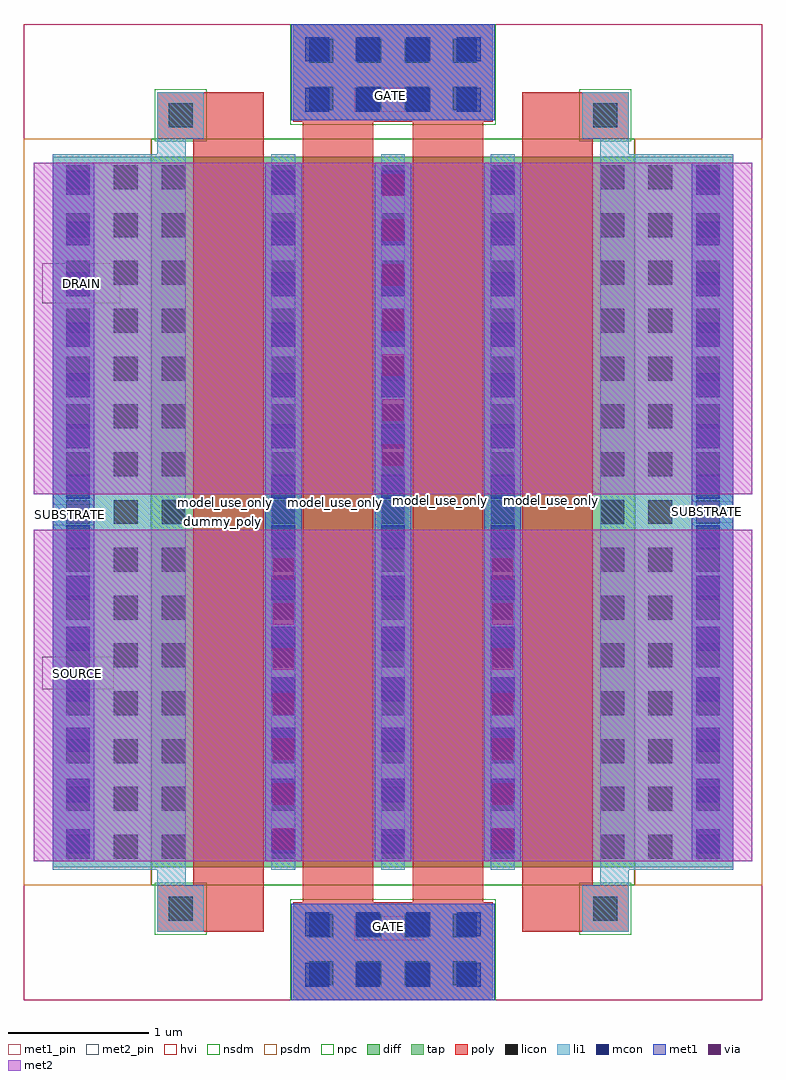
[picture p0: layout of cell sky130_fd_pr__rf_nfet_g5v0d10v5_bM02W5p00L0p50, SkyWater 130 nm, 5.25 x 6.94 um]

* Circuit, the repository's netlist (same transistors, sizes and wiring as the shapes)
* Copyright 2020 The SkyWater PDK Authors
*
* Licensed under the Apache License, Version 2.0 (the "License");
* you may not use this file except in compliance with the License.
* You may obtain a copy of the License at
*
*     https://www.apache.org/licenses/LICENSE-2.0
*
* Unless required by applicable law or agreed to in writing, software
* distributed under the License is distributed on an "AS IS" BASIS,
* WITHOUT WARRANTIES OR CONDITIONS OF ANY KIND, either express or implied.
* See the License for the specific language governing permissions and
* limitations under the License.
*
* SPDX-License-Identifier: Apache-2.0


.subckt sky130_fd_pr__rf_nfet_g5v0d10v5_bM02W5p00L0p50 DRAIN GATE SOURCE SUBSTRATE
X0 SUBSTRATE SUBSTRATE SOURCE SUBSTRATE sky130_fd_pr__nfet_g5v0d10v5 w=5.05e+06u l=500000u
X1 DRAIN GATE SOURCE SUBSTRATE sky130_fd_pr__nfet_g5v0d10v5 w=5.05e+06u l=500000u
X2 SOURCE SUBSTRATE SUBSTRATE SUBSTRATE sky130_fd_pr__nfet_g5v0d10v5 w=5.05e+06u l=500000u
X3 SOURCE GATE DRAIN SUBSTRATE sky130_fd_pr__nfet_g5v0d10v5 w=5.05e+06u l=500000u
.ends

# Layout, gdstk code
import gdstk
lib = gdstk.Library(unit=1e-6, precision=1e-09)
def R(c, l, rs):  # rectangles x0, y0, x1, y1
    for r in rs: c.add(gdstk.rectangle(r[:2], r[2:], *l))
def A(c, l, x, y, w, h, nx, ny, dx, dy):  # array of equal rectangles
    R(c, l, [(x+i*dx, y+j*dy, x+i*dx+w, y+j*dy+h) for i in range(nx) for j in range(ny)])
diff = (65, 20)
tap = (65, 44)
poly = (66, 20)
licon = (66, 44)
li1 = (67, 20)
mcon = (67, 44)
met1_pin = (68, 16)
met1 = (68, 20)
via = (68, 44)
met2_pin = (69, 16)
met2 = (69, 20)
hvi = (75, 20)
nsdm = (93, 44)
psdm = (94, 20)
npc = (95, 20)

sky130_fd_pr__rf_nfet_g5 = lib.new_cell('sky130_fd_pr__rf_nfet_g5v0d10v5_bM02W5p00L0p50')
R(sky130_fd_pr__rf_nfet_g5, diff, [(0.905,0.945,4.345,5.995)])
R(sky130_fd_pr__rf_nfet_g5, tap, [(0.205,0.945,0.905,5.995), (4.345,0.945,5.045,5.995)])
R(sky130_fd_pr__rf_nfet_g5, poly, [(1.915,0,3.335,0.695), (0.95,0.485,1.28,0.815), (1.205,0.485,1.705,6.455), (3.545,0.485,4.045,6.455), (3.97,0.485,4.3,0.815), (1.985,0.695,2.485,6.245), (2.765,0.695,3.265,6.245), (0.95,6.125,1.28,6.455), (3.97,6.125,4.3,6.455), (1.915,6.245,3.335,6.94)])
A(sky130_fd_pr__rf_nfet_g5, licon, 2.03, 0.105, 0.17, 0.17, 4, 2, 0.34, 0.34)
A(sky130_fd_pr__rf_nfet_g5, licon, 0.3, 1.005, 0.17, 0.17, 3, 15, 0.34, 0.34)
A(sky130_fd_pr__rf_nfet_g5, licon, 1.76, 1.005, 0.17, 0.17, 4, 15, 0.78, 0.34)
A(sky130_fd_pr__rf_nfet_g5, licon, 4.44, 1.005, 0.17, 0.17, 1, 15, 0, 0.34)
A(sky130_fd_pr__rf_nfet_g5, licon, 4.78, 1.005, 0.17, 0.17, 1, 15, 0, 0.34)
A(sky130_fd_pr__rf_nfet_g5, licon, 2.03, 6.325, 0.17, 0.17, 4, 2, 0.34, 0.34)
R(sky130_fd_pr__rf_nfet_g5, licon, [(1.03,0.565,1.2,0.735), (4.05,0.565,4.22,0.735), (1.03,6.205,1.2,6.375), (4.05,6.205,4.22,6.375)])
A(sky130_fd_pr__rf_nfet_g5, li1, 1.76, 0.925, 0.17, 5.09, 3, 1, 0.78, 0)
A(sky130_fd_pr__rf_nfet_g5, li1, 1.76, 2.125, 0.17, 2.69, 3, 1, 0.78, 0)
R(sky130_fd_pr__rf_nfet_g5, li1, [(1.915,0,3.335,0.685), (0.95,0.485,1.28,0.815), (3.97,0.485,4.3,0.815), (0.95,0.815,1.15,0.925), (4.1,0.815,4.3,0.925), (0.205,0.925,1.15,6.015), (4.1,0.925,5.045,6.015), (0.95,6.015,1.15,6.125), (4.1,6.015,4.3,6.125), (0.95,6.125,1.28,6.455), (3.97,6.125,4.3,6.455), (1.915,6.255,3.335,6.94)])
A(sky130_fd_pr__rf_nfet_g5, mcon, 2, 0.095, 0.17, 0.17, 4, 2, 0.36, 0.36)
A(sky130_fd_pr__rf_nfet_g5, mcon, 0.3, 1.045, 0.17, 0.17, 1, 14, 0, 0.36)
A(sky130_fd_pr__rf_nfet_g5, mcon, 1.76, 1.045, 0.17, 0.17, 3, 14, 0.78, 0.36)
A(sky130_fd_pr__rf_nfet_g5, mcon, 4.78, 1.045, 0.17, 0.17, 1, 14, 0, 0.36)
A(sky130_fd_pr__rf_nfet_g5, mcon, 2, 6.315, 0.17, 0.17, 4, 2, 0.36, 0.36)
R(sky130_fd_pr__rf_nfet_g5, met1_pin, [(2.35,0.425,2.84,0.595), (0.205,3.375,0.5,3.525), (4.75,3.395,5.045,3.545), (2.35,6.315,2.84,6.485)])
A(sky130_fd_pr__rf_nfet_g5, met1, 1.715, 0.985, 0.26, 4.97, 3, 1, 0.78, 0)
R(sky130_fd_pr__rf_nfet_g5, met1, [(1.9,0,3.35,0.685), (0.205,0.985,0.5,5.955), (1.715,0.985,1.975,3.225), (3.275,0.985,3.535,3.225), (4.75,0.985,5.045,5.955), (2.495,3.715,2.755,5.955), (1.9,6.255,3.35,6.94)])
A(sky130_fd_pr__rf_nfet_g5, via, 1.77, 1.07, 0.15, 0.15, 1, 7, 0, 0.32)
A(sky130_fd_pr__rf_nfet_g5, via, 3.33, 1.07, 0.15, 0.15, 1, 7, 0, 0.32)
A(sky130_fd_pr__rf_nfet_g5, via, 2.55, 3.8, 0.15, 0.15, 1, 7, 0, 0.32)
R(sky130_fd_pr__rf_nfet_g5, met2_pin, [(0.13,2.21,0.64,2.44), (0.13,4.955,0.685,5.24)])
R(sky130_fd_pr__rf_nfet_g5, met2, [(0.07,0.985,5.18,3.345), (1.715,0.985,1.975,3.225), (3.275,0.985,3.535,3.225), (0.07,3.595,5.18,5.955), (2.495,3.715,2.755,5.955)])
R(sky130_fd_pr__rf_nfet_g5, hvi, [(0,0,5.25,6.94)])
R(sky130_fd_pr__rf_nfet_g5, nsdm, [(0.905,0.815,4.345,6.125)])
R(sky130_fd_pr__rf_nfet_g5, psdm, [(0,0.815,0.905,6.125), (4.345,0.815,5.25,6.125)])
R(sky130_fd_pr__rf_nfet_g5, npc, [(1.895,0,3.355,0.715), (0.93,0.465,1.3,0.835), (3.95,0.465,4.32,0.835), (0.93,6.105,1.3,6.475), (3.95,6.105,4.32,6.475), (1.895,6.225,3.355,6.94)])
sky130_fd_pr__rf_nfet_g5.add(gdstk.Label('GATE', (2.595,0.525), layer=68, texttype=5))
sky130_fd_pr__rf_nfet_g5.add(gdstk.Label('GATE', (2.61,6.43), layer=68, texttype=5))
sky130_fd_pr__rf_nfet_g5.add(gdstk.Label('SUBSTRATE', (4.86,3.475), layer=68, texttype=16))
sky130_fd_pr__rf_nfet_g5.add(gdstk.Label('SUBSTRATE', (0.335,3.455), layer=68, texttype=16))
sky130_fd_pr__rf_nfet_g5.add(gdstk.Label('model_use_only', (2.96,3.555), layer=66, texttype=83))
sky130_fd_pr__rf_nfet_g5.add(gdstk.Label('model_use_only', (2.215,3.54), layer=66, texttype=83))
sky130_fd_pr__rf_nfet_g5.add(gdstk.Label('model_use_only', (3.75,3.555), layer=66, texttype=83))
sky130_fd_pr__rf_nfet_g5.add(gdstk.Label('model_use_only', (1.435,3.54), layer=66, texttype=83))
sky130_fd_pr__rf_nfet_g5.add(gdstk.Label('S', (1.845,3.47), layer=83, texttype=44))
sky130_fd_pr__rf_nfet_g5.add(gdstk.Label('S', (1.845,3.47), layer=83, texttype=44))
sky130_fd_pr__rf_nfet_g5.add(gdstk.Label('S', (2.625,3.47), layer=83, texttype=44))
sky130_fd_pr__rf_nfet_g5.add(gdstk.Label('D', (2.625,3.47), layer=83, texttype=44))
sky130_fd_pr__rf_nfet_g5.add(gdstk.Label('S', (3.405,3.47), layer=83, texttype=44))
sky130_fd_pr__rf_nfet_g5.add(gdstk.Label('S', (3.405,3.47), layer=83, texttype=44))
sky130_fd_pr__rf_nfet_g5.add(gdstk.Label('dummy_poly', (1.415,3.405), layer=83, texttype=44))
sky130_fd_pr__rf_nfet_g5.add(gdstk.Label('dummy_poly', (3.755,3.535), layer=83, texttype=44))
sky130_fd_pr__rf_nfet_g5.add(gdstk.Label('SOURCE', (0.385,2.325), layer=69, texttype=5))
sky130_fd_pr__rf_nfet_g5.add(gdstk.Label('DRAIN', (0.41,5.095), layer=69, texttype=5))

lib.write_gds('sky130_fd_pr__rf_nfet_g5v0d10v5_bM02W5p00L0p50.gds')
